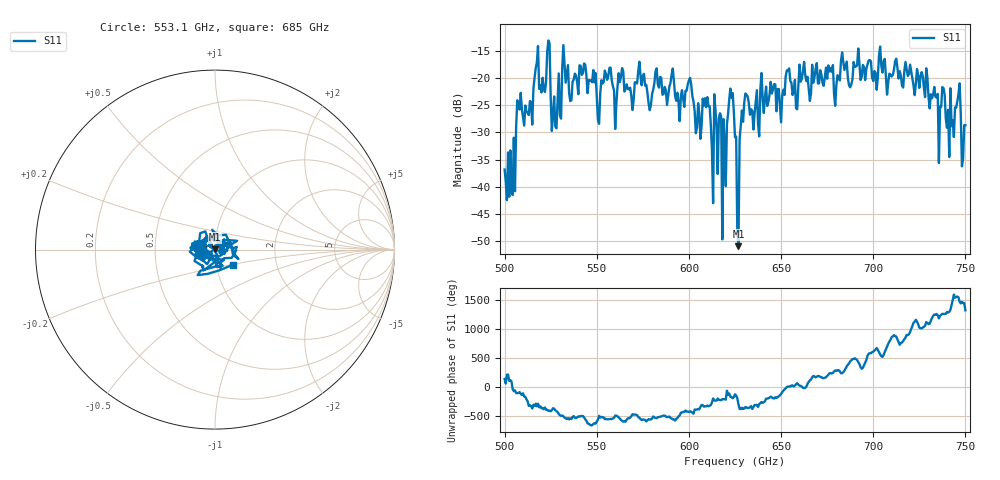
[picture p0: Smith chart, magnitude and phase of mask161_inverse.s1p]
!Created with skrf (http://scikit-rf.org).
# GHz S MA R 50.0
!freq magS11 angS11
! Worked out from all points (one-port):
!   401 points, 500 GHz to 750 GHz, reference 50 ohm
!   lowest |S11| = -50.9 dB at 626.9 GHz (marker M1), VSWR 1.01, Z = 50.1 + j0.247 ohm
!   |S11| at or under -10 dB: start of sweep to end of sweep
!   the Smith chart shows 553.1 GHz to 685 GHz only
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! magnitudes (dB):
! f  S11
! 500 GHz  -36.8
! 504.4 GHz  -41.5
! 507.5 GHz  -24.8
! 513.8 GHz  -24.2
! 516.9 GHz  -18.2
! 520.6 GHz  -20.0
! 523.8 GHz  -13.1
! 526.9 GHz  -23.4
! 531.2 GHz  -18.2
! 542.5 GHz  -19.1
! 551.2 GHz  -28.4
! 562.5 GHz  -20.8
! 593.8 GHz  -22.7
! 610 GHz  -23.5
! 611.9 GHz  -28.6
! 615 GHz  -29.2
! 619.4 GHz  -31.8
! 623.1 GHz  -23.6
! 625 GHz  -30.9
! 626.9 GHz  -50.9
! 628.8 GHz  -26.0
! 631.2 GHz  -23.1
! 656.2 GHz  -23.1
! 687.5 GHz  -21.7
! 718.8 GHz  -19.6
! 742.5 GHz  -28.9
! 745.6 GHz  -24.3
! 750 GHz  -28.7
